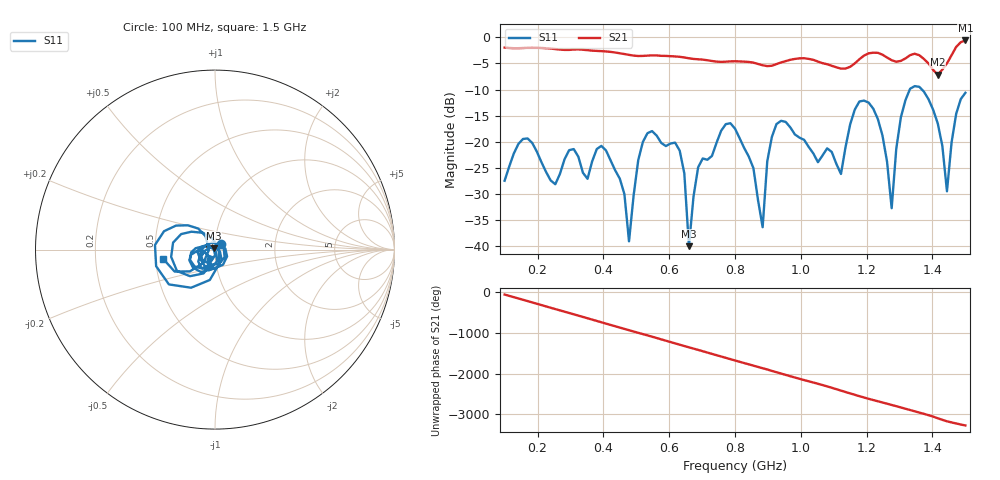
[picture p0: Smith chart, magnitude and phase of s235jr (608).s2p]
! NanoVNA-App
! Date: 2025-09-25 15:08:54
! Start: 100MHz Stop: 1,5GHz Points: 101
! S-Parameter data: F S11 S21 S12 S22
# Hz S RI R 50
!  Frequency  S11_Real  S11_Imag  S21_Real  S21_Imag  S12_Real  S12_Imag  S22_Real  S22_Imag
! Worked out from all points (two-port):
!   101 points, 100 MHz to 1.5 GHz, reference 50 ohm
!   highest |S21| = -0.60 dB at 1.5 GHz (marker M1); lowest = -7.2 dB at 1.416 GHz (marker M2)
!   |S21| within 3 dB of the highest: start of sweep to 600.8 MHz; 1.19 GHz to 1.255 GHz (65.16 MHz wide, 5.33 % of centre) (the widest 2 of 4)
!   lowest |S11| = -40.0 dB at 660 MHz (marker M3), VSWR 1.02, Z = 49.2 + j0.631 ohm
!   |S11| at or under -10 dB: start of sweep to 1.331 GHz; 1.368 GHz to end of sweep
!   S12 and S22 are empty: the file has one direction only
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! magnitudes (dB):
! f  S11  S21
! 100 MHz  -27.5  -2.0
! 170 MHz  -19.4  -2.0
! 338 MHz  -25.9  -2.4
! 408 MHz  -21.7  -2.7
! 478 MHz  -39.1  -3.4
! 520 MHz  -20.1  -3.6
! 576 MHz  -20.2  -3.5
! 632 MHz  -21.7  -3.7
! 660 MHz  -40.0  -4.0
! 688 MHz  -24.9  -4.2
! 800 MHz  -17.5  -4.6
! 884 MHz  -36.4  -5.4
! 898 MHz  -23.8  -5.5
! 926 MHz  -16.6  -5.1
! 1.038 GHz  -22.2  -4.3
! 1.122 GHz  -26.2  -6.0
! 1.206 GHz  -12.5  -3.1
! 1.276 GHz  -32.7  -4.4
! 1.332 GHz  -9.9  -3.4
! 1.416 GHz  -16.5  -7.2
! 1.444 GHz  -29.5  -5.0
! 1.5 GHz  -10.6  -0.6
